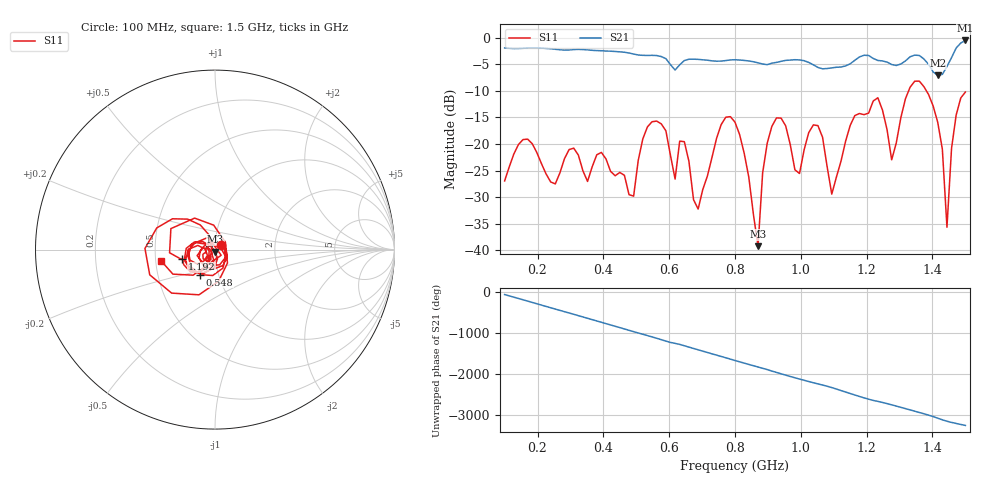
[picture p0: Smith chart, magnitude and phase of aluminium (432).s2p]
! NanoVNA-App
! Date: 2025-09-25 14:58:38
! Start: 100MHz Stop: 1,5GHz Points: 101
! S-Parameter data: F S11 S21 S12 S22
# Hz S RI R 50
!  Frequency  S11_Real  S11_Imag  S21_Real  S21_Imag  S12_Real  S12_Imag  S22_Real  S22_Imag
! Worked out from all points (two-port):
!   101 points, 100 MHz to 1.5 GHz, reference 50 ohm
!   highest |S21| = -0.51 dB at 1.5 GHz (marker M1); lowest = -7.1 dB at 1.416 GHz (marker M2)
!   |S21| within 3 dB of the highest: start of sweep to 573.8 MHz; 1.46 GHz to end of sweep (the widest 2 of 4)
!   lowest |S11| = -39.2 dB at 870 MHz (marker M3), VSWR 1.02, Z = 50.2 - j1.07 ohm
!   |S11| at or under -10 dB: start of sweep to 1.328 GHz; 1.382 GHz to end of sweep
!   S12 and S22 are empty: the file has one direction only
!   S11 on the Smith chart (normalised r, x): 100 MHz: 1.07, +0.06; 548 MHz: 0.82, -0.23; 1.192 GHz: 0.69, -0.07; 1.5 GHz: 0.53, -0.07
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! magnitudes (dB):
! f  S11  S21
! 100 MHz  -27.0  -1.9
! 156 MHz  -19.2  -2.0
! 338 MHz  -25.1  -2.2
! 492 MHz  -29.8  -3.1
! 548 MHz  -15.8  -3.3
! 576 MHz  -16.2  -3.5
! 646 MHz  -19.6  -4.3
! 688 MHz  -32.3  -4.1
! 800 MHz  -15.9  -4.1
! 870 MHz  -39.2  -4.7
! 912 MHz  -16.7  -4.8
! 996 MHz  -25.6  -4.2
! 1.038 GHz  -16.4  -5.1
! 1.094 GHz  -29.4  -5.7
! 1.192 GHz  -14.5  -3.3
! 1.234 GHz  -11.3  -4.3
! 1.276 GHz  -23.0  -5.0
! 1.346 GHz  -8.2  -3.3
! 1.416 GHz  -15.9  -7.1
! 1.444 GHz  -35.7  -5.4
! 1.458 GHz  -20.8  -3.7
! 1.5 GHz  -10.2  -0.5
